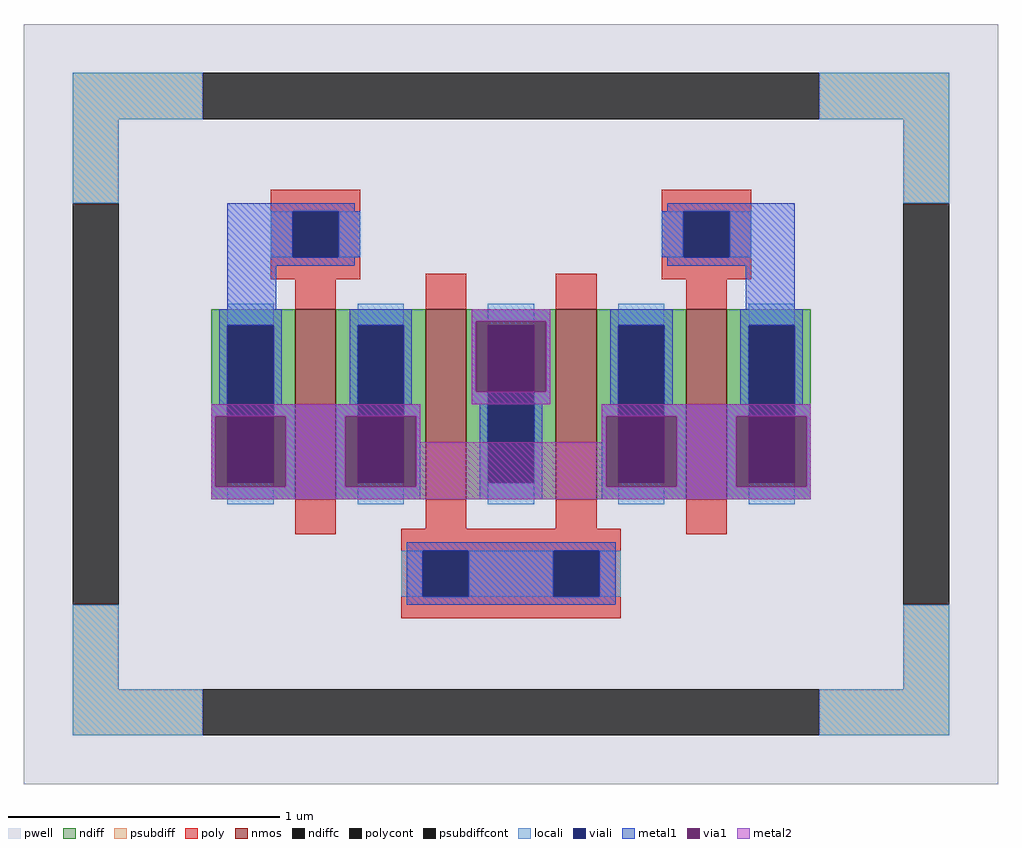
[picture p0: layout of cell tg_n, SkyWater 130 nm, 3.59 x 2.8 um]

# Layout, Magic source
magic
tech sky130A
magscale 1 2
<< pwell >>
rect -359 -280 359 280
<< nmos >>
rect -159 -70 -129 70
rect -63 -70 -33 70
rect 33 -70 63 70
rect 129 -70 159 70
<< ndiff >>
rect -221 58 -159 70
rect -221 -58 -209 58
rect -175 -58 -159 58
rect -221 -70 -159 -58
rect -129 58 -63 70
rect -129 -58 -113 58
rect -79 -58 -63 58
rect -129 -70 -63 -58
rect -33 58 33 70
rect -33 -58 -17 58
rect 17 -58 33 58
rect -33 -70 33 -58
rect 63 58 129 70
rect 63 -58 79 58
rect 113 -58 129 58
rect 63 -70 129 -58
rect 159 58 221 70
rect 159 -58 175 58
rect 209 -58 221 58
rect 159 -70 221 -58
<< ndiffc >>
rect -209 -58 -175 58
rect -113 -58 -79 58
rect -17 -58 17 58
rect 79 -58 113 58
rect 175 -58 209 58
<< psubdiff >>
rect -323 210 -227 244
rect 227 210 323 244
rect -323 148 -289 210
rect 289 148 323 210
rect -323 -210 -289 -148
rect 289 -210 323 -148
rect -323 -244 -227 -210
rect 227 -244 323 -210
<< psubdiffcont >>
rect -227 210 227 244
rect -323 -148 -289 148
rect 289 -148 323 148
rect -227 -244 227 -210
<< poly >>
rect -177 142 -111 158
rect -177 108 -161 142
rect -127 108 -111 142
rect -177 92 -111 108
rect 111 142 177 158
rect 111 108 127 142
rect 161 108 177 142
rect -159 70 -129 92
rect -63 70 -33 96
rect 33 70 63 96
rect 111 92 177 108
rect 129 70 159 92
rect -159 -96 -129 -70
rect -63 -92 -33 -70
rect 33 -92 63 -70
rect -81 -108 81 -92
rect 129 -96 159 -70
rect -81 -142 -65 -108
rect -31 -142 31 -108
rect 65 -142 81 -108
rect -81 -158 81 -142
<< polycont >>
rect -161 108 -127 142
rect 127 108 161 142
rect -65 -142 -31 -108
rect 31 -142 65 -108
<< locali >>
rect -323 210 -227 244
rect 227 210 323 244
rect -323 148 -289 210
rect 289 148 323 210
rect -177 108 -161 142
rect -127 108 -111 142
rect 111 108 127 142
rect 161 108 177 142
rect -209 58 -175 74
rect -209 -74 -175 -58
rect -113 58 -79 74
rect -113 -74 -79 -58
rect -17 58 17 74
rect -17 -74 17 -58
rect 79 58 113 74
rect 79 -74 113 -58
rect 175 58 209 74
rect 175 -74 209 -58
rect -81 -142 -65 -108
rect -31 -142 31 -108
rect 65 -142 81 -108
rect -323 -210 -289 -148
rect 289 -210 323 -148
rect -323 -244 -227 -210
rect 227 -244 323 -210
<< viali >>
rect -161 108 -127 142
rect 127 108 161 142
rect -209 -58 -175 58
rect -113 -58 -79 58
rect -17 -58 17 58
rect 79 -58 113 58
rect 175 -58 209 58
rect -65 -142 -31 -108
rect 31 -142 65 -108
<< metal1 >>
rect -209 142 -115 148
rect 115 142 209 148
rect -209 108 -161 142
rect -127 108 -111 142
rect 111 108 127 142
rect 161 108 209 142
rect -209 102 -115 108
rect 115 102 209 108
rect -209 70 -173 102
rect 173 70 209 102
rect -215 58 -169 70
rect -215 0 -209 58
rect -221 -9 -209 0
rect -175 0 -169 58
rect -119 58 -73 70
rect -119 0 -113 58
rect -175 -9 -113 0
rect -79 0 -73 58
rect -29 61 29 70
rect -29 9 -26 61
rect 26 9 29 61
rect -29 0 -17 9
rect -79 -9 -67 0
rect -221 -61 -218 -9
rect -166 -61 -122 -9
rect -70 -61 -67 -9
rect -221 -70 -67 -61
rect -23 -58 -17 0
rect 17 0 29 9
rect 73 58 119 70
rect 73 0 79 58
rect 17 -58 23 0
rect -23 -70 23 -58
rect 67 -9 79 0
rect 113 0 119 58
rect 169 58 215 70
rect 169 0 175 58
rect 113 -9 175 0
rect 209 0 215 58
rect 209 -9 221 0
rect 67 -61 70 -9
rect 122 -61 166 -9
rect 218 -61 221 -9
rect 67 -70 221 -61
rect -77 -108 77 -102
rect -77 -142 -65 -108
rect -31 -142 31 -108
rect 65 -142 77 -108
rect -77 -148 77 -142
<< via1 >>
rect -26 58 26 61
rect -26 9 -17 58
rect -17 9 17 58
rect 17 9 26 58
rect -218 -58 -209 -9
rect -209 -58 -175 -9
rect -175 -58 -166 -9
rect -218 -61 -166 -58
rect -122 -58 -113 -9
rect -113 -58 -79 -9
rect -79 -58 -70 -9
rect -122 -61 -70 -58
rect 70 -58 79 -9
rect 79 -58 113 -9
rect 113 -58 122 -9
rect 70 -61 122 -58
rect 166 -58 175 -9
rect 175 -58 209 -9
rect 209 -58 218 -9
rect 166 -61 218 -58
<< metal2 >>
rect -29 61 29 70
rect -29 9 -26 61
rect 26 9 29 61
rect -29 0 29 9
rect -221 -9 -67 0
rect -221 -61 -218 -9
rect -166 -61 -122 -9
rect -70 -28 -67 -9
rect 67 -9 221 0
rect 67 -28 70 -9
rect -70 -61 70 -28
rect 122 -61 166 -9
rect 218 -61 221 -9
rect -221 -70 221 -61
<< properties >>
string FIXED_BBOX -306 -227 306 227
string gencell sky130_fd_pr__nfet_01v8
string library sky130
string parameters w 0.7 l 0.150 m 1 nf 4 diffcov 100 polycov 100 guard 1 glc 1 grc 1 gtc 1 gbc 1 tbcov 100 rlcov 100 topc 1 botc 1 poverlap 0 doverlap 1 lmin 0.15 wmin 0.42 compatible {sky130_fd_pr__nfet_01v8 sky130_fd_pr__nfet_01v8_lvt  sky130_fd_bs_flash__special_sonosfet_star  sky130_fd_pr__nfet_g5v0d10v5 sky130_fd_pr__nfet_05v0_nvt  sky130_fd_pr__nfet_03v3_nvt} full_metal 1 viasrc 100 viadrn 100 viagate 100 viagb 0 viagr 0 viagl 0 viagt 0
<< end >>
